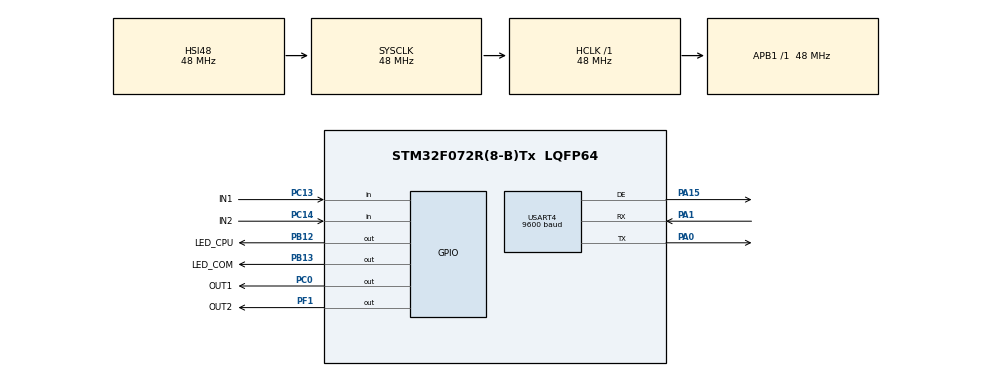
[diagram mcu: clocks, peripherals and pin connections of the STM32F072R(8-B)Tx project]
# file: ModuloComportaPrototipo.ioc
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Mcu.Family=STM32F0
Mcu.Name=STM32F072R(8-B)Tx
Mcu.Package=LQFP64
NVIC.TIM3_IRQn=true\:0\:0\:false\:false\:true\:true\:true\:true
NVIC.USART3_4_IRQn=true\:0\:0\:false\:false\:true\:true\:true\:true
PA0.Mode=Asynchronous
PA0.Signal=USART4_TX
PA1.Mode=Asynchronous
PA1.Signal=USART4_RX
PA13.Mode=Serial_Wire
PA13.Signal=SYS_SWDIO
PA14.Mode=Serial_Wire
PA14.Signal=SYS_SWCLK
PA15.Mode=Hardware Flow Control (RS485)
PA15.Signal=USART4_DE
PB12.GPIO_Label=LED_CPU
PB12.Signal=GPIO_Output
PB13.GPIO_Label=LED_COM
PB13.Signal=GPIO_Output
PC0.GPIO_Label=OUT1
PC0.Signal=GPIO_Output
PC13.GPIO_Label=IN1
PC13.GPIO_PuPd=GPIO_PULLUP
PC13.Signal=GPIO_Input
PC14-OSC32_IN.GPIO_Label=IN2
PC14-OSC32_IN.GPIO_PuPd=GPIO_PULLUP
PC14-OSC32_IN.Signal=GPIO_Input
PF1-OSC_OUT.GPIO_Label=OUT2
PF1-OSC_OUT.Signal=GPIO_Output
ProjectManager.HeapSize=0x200
ProjectManager.StackSize=0x400
ProjectManager.TargetToolchain=STM32CubeIDE
RCC.AHBFreq_Value=48000000
RCC.APB1Freq_Value=48000000
RCC.APB1TimFreq_Value=48000000
RCC.HCLKFreq_Value=48000000
RCC.SYSCLKFreq_VALUE=48000000
RCC.SYSCLKSource=RCC_SYSCLKSOURCE_HSI48
TIM2.Period=48-1
TIM3.Period=10-1
TIM3.Prescaler=480-1
USART4.BaudRate=9600
USART4.VirtualMode-Asynchronous=VM_ASYNC
USART4.VirtualMode-Hardware\ Flow\ Control\ (RS485)=VM_ASYNC
VP_IWDG_VS_IWDG.Mode=IWDG_Activate
VP_TIM2_VS_ClockSourceINT.Mode=Internal
VP_TIM3_VS_ClockSourceINT.Mode=Internal
board=custom

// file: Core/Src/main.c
/* USER CODE BEGIN Header */
/**
  ******************************************************************************
  * @file           : main.c
  * @brief          : Main program body
  ******************************************************************************
  * @attention
  *
  * Copyright (c) 2026 STMicroelectronics.
  * All rights reserved.
  *
  * This software is licensed under terms that can be found in the LICENSE file
  * in the root directory of this software component.
  * If no LICENSE file comes with this software, it is provided AS-IS.
  *
  ******************************************************************************
  */
/* USER CODE END Header */
#include "main.h"

/* USER CODE BEGIN Includes */
#include "global.h"
#include "string.h"
/* USER CODE END Includes */

IWDG_HandleTypeDef hiwdg;

TIM_HandleTypeDef htim2;
TIM_HandleTypeDef htim3;

UART_HandleTypeDef huart4;

/* USER CODE BEGIN PV */
uint8_t
	flagPacoteRS485 = false,
	flagLedCOM = false,

	flagFimDeCursoSobe = false,
	flagFimDeCursoDesce = false;

uint8_t
	contadorRS485Buffer = 0,

	comandoComportas = PARAR_COMPORTAS;

char
	rs485DataIn = 0;

char
	bufferRS485[TAMANHO_BUFFER_RS485];

/* USER CODE END PV */

void SystemClock_Config(void);
static void MX_GPIO_Init(void);
static void MX_IWDG_Init(void);
static void MX_TIM2_Init(void);
static void MX_TIM3_Init(void);
static void MX_USART4_UART_Init(void);

/* USER CODE BEGIN 0 */
void HAL_TIM_PeriodElapsedCallback(TIM_HandleTypeDef *htim) {
	if(htim == &htim3) {
		schedulerEngine();
	}
}

void HAL_UART_RxCpltCallback(UART_HandleTypeDef *huart) {

	if(huart-> Instance==USART4) { //RS485
		if(rs485DataIn == 0x00) {
			return;
		}
		bufferRS485[contadorRS485Buffer] = rs485DataIn;
		contadorRS485Buffer ++;

		if(contadorRS485Buffer >= TAMANHO_BUFFER_RS485) {
			apagaRS485Buffer();
		}

		if(rs485DataIn == 0x0A) {
			flagPacoteRS485 = true;
		}
	}
}

void delayMicro(uint32_t tempo) {
	__HAL_TIM_SET_COUNTER(&htim2, 0);
	while(__HAL_TIM_GET_COUNTER(&htim2) < tempo) {
	}
}

void reiniciaWatchDog() {
	HAL_IWDG_Refresh(&hiwdg);
}

/* USER CODE END 0 */

int main(void)
{

  /* MCU Configuration--------------------------------------------------------*/

  /* Reset of all peripherals, Initializes the Flash interface and the Systick. */
  HAL_Init();

  /* Configure the system clock */
  SystemClock_Config();

  /* Initialize all configured peripherals */
  MX_GPIO_Init();
  MX_IWDG_Init();
  MX_TIM2_Init();
  MX_TIM3_Init();
  MX_USART4_UART_Init();
  /* USER CODE BEGIN 2 */
  HAL_TIM_Base_Start(&htim2); //Timer do delay us
  HAL_TIM_Base_Start_IT(&htim3); //Timer do Scheduller

  /* USER CODE END 2 */

  /* Infinite loop */
  /* USER CODE BEGIN WHILE */
  while (1)
  {
	  protocoloRS485();
	  entradasDigitais();
	  acionamentoReles();
    /* USER CODE END WHILE */

    /* USER CODE BEGIN 3 */
	  HAL_UART_Receive_IT(&huart4, &rs485DataIn, 1);
  }
  /* USER CODE END 3 */
}

void SystemClock_Config(void)
{
  RCC_OscInitTypeDef RCC_OscInitStruct = {0};
  RCC_ClkInitTypeDef RCC_ClkInitStruct = {0};

  /** Initializes the RCC Oscillators according to the specified parameters
  * in the RCC_OscInitTypeDef structure.
  */
  RCC_OscInitStruct.OscillatorType = RCC_OSCILLATORTYPE_HSI48|RCC_OSCILLATORTYPE_LSI;
  RCC_OscInitStruct.HSI48State = RCC_HSI48_ON;
  RCC_OscInitStruct.LSIState = RCC_LSI_ON;
  RCC_OscInitStruct.PLL.PLLState = RCC_PLL_NONE;
  if (HAL_RCC_OscConfig(&RCC_OscInitStruct) != HAL_OK)
  {
    Error_Handler();
  }

  /** Initializes the CPU, AHB and APB buses clocks
  */
  RCC_ClkInitStruct.ClockType = RCC_CLOCKTYPE_HCLK|RCC_CLOCKTYPE_SYSCLK
                              |RCC_CLOCKTYPE_PCLK1;
  RCC_ClkInitStruct.SYSCLKSource = RCC_SYSCLKSOURCE_HSI48;
  RCC_ClkInitStruct.AHBCLKDivider = RCC_SYSCLK_DIV1;
  RCC_ClkInitStruct.APB1CLKDivider = RCC_HCLK_DIV1;

  if (HAL_RCC_ClockConfig(&RCC_ClkInitStruct, FLASH_LATENCY_1) != HAL_OK)
  {
    Error_Handler();
  }
}

static void MX_IWDG_Init(void)
{

  hiwdg.Instance = IWDG;
  hiwdg.Init.Prescaler = IWDG_PRESCALER_4;
  hiwdg.Init.Window = 4095;
  hiwdg.Init.Reload = 4095;
  if (HAL_IWDG_Init(&hiwdg) != HAL_OK)
  {
    Error_Handler();
  }

}

static void MX_TIM2_Init(void)
{

  TIM_ClockConfigTypeDef sClockSourceConfig = {0};
  TIM_MasterConfigTypeDef sMasterConfig = {0};

  htim2.Instance = TIM2;
  htim2.Init.Prescaler = 0;
  htim2.Init.CounterMode = TIM_COUNTERMODE_UP;
  htim2.Init.Period = 48-1;
  htim2.Init.ClockDivision = TIM_CLOCKDIVISION_DIV1;
  htim2.Init.AutoReloadPreload = TIM_AUTORELOAD_PRELOAD_DISABLE;
  if (HAL_TIM_Base_Init(&htim2) != HAL_OK)
  {
    Error_Handler();
  }
  sClockSourceConfig.ClockSource = TIM_CLOCKSOURCE_INTERNAL;
  if (HAL_TIM_ConfigClockSource(&htim2, &sClockSourceConfig) != HAL_OK)
  {
    Error_Handler();
  }
  sMasterConfig.MasterOutputTrigger = TIM_TRGO_RESET;
  sMasterConfig.MasterSlaveMode = TIM_MASTERSLAVEMODE_DISABLE;
  if (HAL_TIMEx_MasterConfigSynchronization(&htim2, &sMasterConfig) != HAL_OK)
  {
    Error_Handler();
  }

}

static void MX_TIM3_Init(void)
{

  TIM_ClockConfigTypeDef sClockSourceConfig = {0};
  TIM_MasterConfigTypeDef sMasterConfig = {0};

  htim3.Instance = TIM3;
  htim3.Init.Prescaler = 480-1;
  htim3.Init.CounterMode = TIM_COUNTERMODE_UP;
  htim3.Init.Period = 10-1;
  htim3.Init.ClockDivision = TIM_CLOCKDIVISION_DIV1;
  htim3.Init.AutoReloadPreload = TIM_AUTORELOAD_PRELOAD_DISABLE;
  if (HAL_TIM_Base_Init(&htim3) != HAL_OK)
  {
    Error_Handler();
  }
  sClockSourceConfig.ClockSource = TIM_CLOCKSOURCE_INTERNAL;
  if (HAL_TIM_ConfigClockSource(&htim3, &sClockSourceConfig) != HAL_OK)
  {
    Error_Handler();
  }
  sMasterConfig.MasterOutputTrigger = TIM_TRGO_RESET;
  sMasterConfig.MasterSlaveMode = TIM_MASTERSLAVEMODE_DISABLE;
  if (HAL_TIMEx_MasterConfigSynchronization(&htim3, &sMasterConfig) != HAL_OK)
  {
    Error_Handler();
  }

}

static void MX_USART4_UART_Init(void)
{

  huart4.Instance = USART4;
  huart4.Init.BaudRate = 9600;
  huart4.Init.WordLength = UART_WORDLENGTH_8B;
  huart4.Init.StopBits = UART_STOPBITS_1;
  huart4.Init.Parity = UART_PARITY_NONE;
  huart4.Init.Mode = UART_MODE_TX_RX;
  huart4.Init.HwFlowCtl = UART_HWCONTROL_NONE;
  huart4.Init.OverSampling = UART_OVERSAMPLING_16;
  huart4.Init.OneBitSampling = UART_ONE_BIT_SAMPLE_DISABLE;
  huart4.AdvancedInit.AdvFeatureInit = UART_ADVFEATURE_NO_INIT;
  if (HAL_RS485Ex_Init(&huart4, UART_DE_POLARITY_HIGH, 0, 0) != HAL_OK)
  {
    Error_Handler();
  }

}

static void MX_GPIO_Init(void)
{
  GPIO_InitTypeDef GPIO_InitStruct = {0};

  /* GPIO Ports Clock Enable */
  __HAL_RCC_GPIOC_CLK_ENABLE();
  __HAL_RCC_GPIOF_CLK_ENABLE();
  __HAL_RCC_GPIOA_CLK_ENABLE();
  __HAL_RCC_GPIOB_CLK_ENABLE();

  /*Configure GPIO pin Output Level */
  HAL_GPIO_WritePin(OUT2_GPIO_Port, OUT2_Pin, GPIO_PIN_RESET);

  /*Configure GPIO pin Output Level */
  HAL_GPIO_WritePin(OUT1_GPIO_Port, OUT1_Pin, GPIO_PIN_RESET);

  /*Configure GPIO pin Output Level */
  HAL_GPIO_WritePin(GPIOB, LED_CPU_Pin|LED_COM_Pin, GPIO_PIN_RESET);

  /*Configure GPIO pins : IN1_Pin IN2_Pin */
  GPIO_InitStruct.Pin = IN1_Pin|IN2_Pin;
  GPIO_InitStruct.Mode = GPIO_MODE_INPUT;
  GPIO_InitStruct.Pull = GPIO_PULLUP;
  HAL_GPIO_Init(GPIOC, &GPIO_InitStruct);

  /*Configure GPIO pin : OUT2_Pin */
  GPIO_InitStruct.Pin = OUT2_Pin;
  GPIO_InitStruct.Mode = GPIO_MODE_OUTPUT_PP;
  GPIO_InitStruct.Pull = GPIO_NOPULL;
  GPIO_InitStruct.Speed = GPIO_SPEED_FREQ_LOW;
  HAL_GPIO_Init(OUT2_GPIO_Port, &GPIO_InitStruct);

  /*Configure GPIO pin : OUT1_Pin */
  GPIO_InitStruct.Pin = OUT1_Pin;
  GPIO_InitStruct.Mode = GPIO_MODE_OUTPUT_PP;
  GPIO_InitStruct.Pull = GPIO_NOPULL;
  GPIO_InitStruct.Speed = GPIO_SPEED_FREQ_LOW;
  HAL_GPIO_Init(OUT1_GPIO_Port, &GPIO_InitStruct);

  /*Configure GPIO pins : LED_CPU_Pin LED_COM_Pin */
  GPIO_InitStruct.Pin = LED_CPU_Pin|LED_COM_Pin;
  GPIO_InitStruct.Mode = GPIO_MODE_OUTPUT_PP;
  GPIO_InitStruct.Pull = GPIO_NOPULL;
  GPIO_InitStruct.Speed = GPIO_SPEED_FREQ_LOW;
  HAL_GPIO_Init(GPIOB, &GPIO_InitStruct);

}

void Error_Handler(void)
{
  __disable_irq();
  while (1)
  {
  }
}
